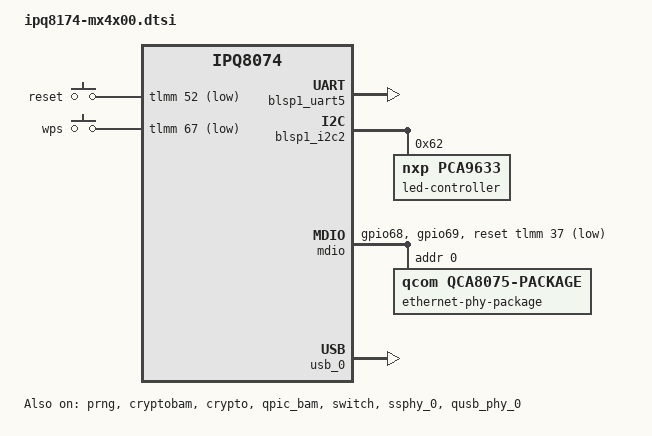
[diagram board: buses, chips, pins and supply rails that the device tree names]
// SPDX-License-Identifier: GPL-2.0-or-later OR MIT
/* Copyright (c) 2023, Mohammad Sayful Islam <Sayf.mohammad01@gmail.com> */

#include "ipq8074.dtsi"
#include "ipq8074-ac-cpu.dtsi"
#include "ipq8074-ess.dtsi"
#include <dt-bindings/gpio/gpio.h>
#include <dt-bindings/input/input.h>
#include <dt-bindings/leds/common.h>

/ {
	aliases {
		serial0 = &blsp1_uart5;
		serial1 = &blsp1_uart3;
		/*
		 * Aliases as required by u-boot
		 * to patch MAC addresses
		 */
		ethernet1 = &dp2;
		ethernet2 = &dp3;
		led-boot = &led_system_blue;
		led-running = &led_system_blue;
		led-failsafe = &led_system_red;
		led-upgrade = &led_system_green;
	};

	chosen {
		stdout-path = "serial0:115200n8";
	};

	keys {
		compatible = "gpio-keys";
		pinctrl-0 = <&button_pins>;
		pinctrl-names = "default";

		reset-button {
			label = "reset";
			gpios = <&tlmm 52 GPIO_ACTIVE_LOW>;
			linux,code = <KEY_RESTART>;
		};

		wps-button {
			label = "wps";
			gpios = <&tlmm 67 GPIO_ACTIVE_LOW>;
			linux,code = <KEY_WPS_BUTTON>;
		};
	};
};

&tlmm {
	button_pins: button-state {
		pins = "gpio52", "gpio67";
		function = "gpio";
		drive-strength = <8>;
		bias-pull-up;
	};

	mdio_pins: mdio-state {
		mdc-pins {
			pins = "gpio68";
			function = "mdc";
			drive-strength = <8>;
			bias-pull-up;
		};

		mdio-pins {
			pins = "gpio69";
			function = "mdio";
			drive-strength = <8>;
			bias-pull-up;
		};
	};
};

&blsp1_uart5 {
	status = "okay";
};

&prng {
	status = "okay";
};

&cryptobam {
	status = "okay";
};

&crypto {
	status = "okay";
};

&qpic_bam {
	status = "okay";
};

&blsp1_i2c2 {
	status = "okay";

	led-controller@62 {
		compatible = "nxp,pca9633";
		#address-cells = <1>;
		#size-cells = <0>;
		reg = <0x62>;
		nxp,hw-blink;

		led_system_red: led@0 {
			reg = <0>;
			color = <LED_COLOR_ID_RED>;
			function = LED_FUNCTION_STATUS;
		};

		led_system_green: led@1 {
			reg = <1>;
			color = <LED_COLOR_ID_GREEN>;
			function = LED_FUNCTION_STATUS;
		};

		led_system_blue: led@2 {
			reg = <2>;
			color = <LED_COLOR_ID_BLUE>;
			function = LED_FUNCTION_STATUS;
		};
	};
};

&mdio {
	status = "okay";

	pinctrl-0 = <&mdio_pins>;
	pinctrl-names = "default";
	reset-gpios = <&tlmm 37 GPIO_ACTIVE_LOW>;

	ethernet-phy-package@0 {
		#address-cells = <1>;
		#size-cells = <0>;
		compatible = "qcom,qca8075-package";
		reg = <0>;

		qca8075_1: ethernet-phy@1 {
			compatible = "ethernet-phy-ieee802.3-c22";
			reg = <1>;
		};

		qca8075_2: ethernet-phy@2 {
			compatible = "ethernet-phy-ieee802.3-c22";
			reg = <2>;
		};

		qca8075_3: ethernet-phy@3 {
			compatible = "ethernet-phy-ieee802.3-c22";
			reg = <3>;
		};

		qca8075_4: ethernet-phy@4 {
			compatible = "ethernet-phy-ieee802.3-c22";
			reg = <4>;
		};
	};
};

&switch {
	status = "okay";

	switch_lan_bmp = <(ESS_PORT3 | ESS_PORT4 | ESS_PORT5)>; /* lan port bitmap */
	switch_wan_bmp = <ESS_PORT2>; /* wan port bitmap */
	switch_mac_mode = <MAC_MODE_PSGMII>; /* mac mode for uniphy instance0*/

	qcom,port_phyinfo {
		port@2 {
			port_id = <2>;
			phy_address = <1>;
		};

		port@3 {
			port_id = <3>;
			phy_address = <2>;
		};

		port@4 {
			port_id = <4>;
			phy_address = <3>;
		};

		port@5 {
			port_id = <5>;
			phy_address = <4>;
		};
	};
};

&edma {
	status = "okay";
};

&ssphy_0 {
	status = "okay";
};

&qusb_phy_0 {
	status = "okay";
};

&usb_0 {
	status = "okay";
};
